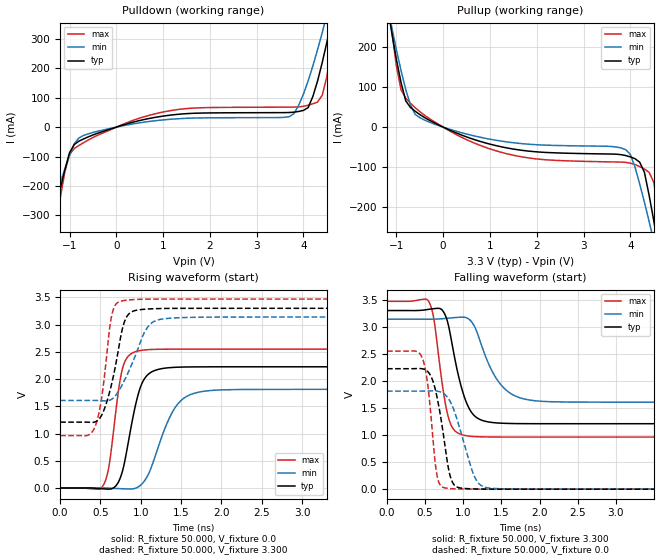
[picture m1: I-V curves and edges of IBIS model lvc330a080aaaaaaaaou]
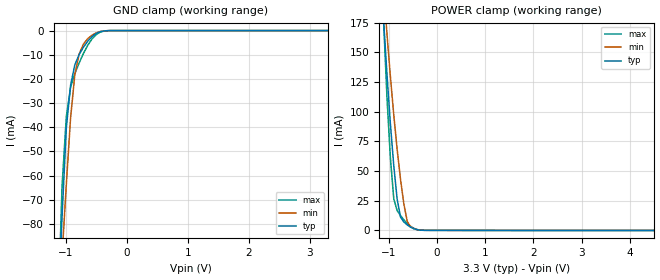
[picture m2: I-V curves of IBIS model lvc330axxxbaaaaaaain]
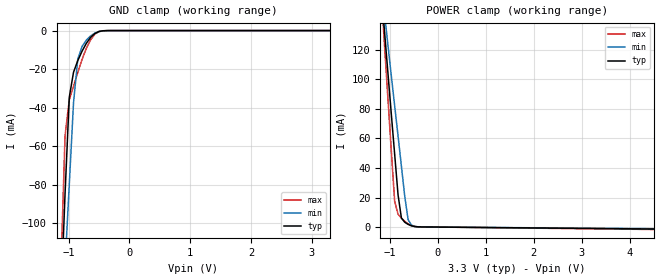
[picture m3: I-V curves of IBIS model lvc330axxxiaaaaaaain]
| IBIS Models Generator: Lattice Radiant Software (64-bit) 3.0.0.24.1
| Report Generate Date: Dec 13 2021
| Report Generate Time: 12:13:41
|IBIS file ice40up.ibs
|Lattice Semiconductor Corporation
[IBIS ver]   4.2
[File Name]   proj_guitar_hero_impl_1.ibs
[File Rev]   2.0
[Date]   1/26/2018
[Source]   Simulation
[Notes]   Final IBIS models
   The data below was generated using simulation of the
   input/output model files for the silicon.  Therefore,
   the data below is for reference and initial design
   purposes only.
|   The model applies to iCE40 ULTRA PLUS.
   Lattice Semiconductor grants permission to use this
   data for use in printed circuit design using this
   Lattice programmable logic device.  Other use of this
   code, including the selling or duplication of any
   portion is strictly prohibited.
|   NAMING CONVENTION
   The IBIS [Model] header is limited by the specification to a
   total of characters.  With such a set of characters available
   for naming models it becomes important to attempt to
   meaningfully encode the IO standards so they fit within the
   twenty character limit.  It would seem that twenty characters
   would provide room enough for describing IO's.  However, the
   PLD IO structure continues to grow more and more complex.  The
   complexity is making the twenty characters insuffiently
   descriptive.  In order to overcome this issue the naming
   convention described below is implemented to resolve the issue.
The twenty character space is managed as follows:
   bbbvvvsdddprtaaaoixx
   b = standard
   v = voltage (x.xx V)
   s = slew code
   d = drive (xx.x ma)
   p = pullmode code
   r = impedance
   t = mipi hard dphy mode
   o = diff resistor code
   i = diff  current code
   x = reserved
   standard
   LVCMOS   lvc
   lvdse   lve
   slew
   na   a
   fast   f
   slow   s
   pullmode
   off   a
   100k   b
   3p3k   i
   6p8k   j
   10k   k
   impedance
   off   a
   mipi hard dphy mode
   off   a
   lp   l
   hs   h
   differential resistor
   off   a
   100   b
   differential current
   NA   a
   3.5   c
   Reserved   IO type
   in   input only (mipi: rx)
   ou   output (mipi: tx)
   io   I/O
   od   Open drain
   on   Inverting differential I/O
   (signal name only)
   op   Non-Inverting differential I/O
   (signal name only)
   Lattice Semiconductor Corporation
   5555 NE Moore Court
   Hillsboro, OR 97214
   U.S.A
   TEL: 1-800-Lattice (USA and Canada)
   408-826-6000 (other locations)
   web: http://www.latticesemi.com/
   email: techsupport@latticesemi.com
[Disclaimer] This IBIS source code is intended as a design reference
   which illustrates how the Lattice Semiconductor device operates.
   It is the user's responsibility to verify their design for
   consistency and functionality through the use of formal
   verification methods.  Lattice Semiconductor provides no warranty
   regarding the use or functionality of this data.
[Copyright]   Copyright 2018 by Lattice Semiconductor Corporation
|   Component ice40_ultra_plus
[Component]   ice40_ultra_plus
[Manufacturer]   UMC
[Package]
| SG48
| variable   Typ   Min   Max
R_pkg   294.15m   225.91m   395.17m
L_pkg   2.652nH   1.989nH   3.504nH
C_pkg   0.2807pF   0.2236pF   0.3481pF
[Pin]  signal_name   model_name   R_pin   L_pin   C_pin
28   RGBout[0]   lvc330a080aaaaaaaaou
27   RGBout[1]   lvc330a080aaaaaaaaou
32   RGBout[2]   lvc330a080aaaaaaaaou
35   RGBout[3]   lvc330a080aaaaaaaaou
31   RGBout[4]   lvc330a080aaaaaaaaou
37   RGBout[5]   lvc330a080aaaaaaaaou
16   rgb[5]   lvc330a080aaaaaaaaou
17   rgb[4]   lvc330a080aaaaaaaaou
15   rgb[3]   lvc330a080aaaaaaaaou
14   rgb[2]   lvc330a080aaaaaaaaou
19   rgb[1]   lvc330a080aaaaaaaaou
18   rgb[0]   lvc330a080aaaaaaaaou
25   HSYNCout   lvc330a080aaaaaaaaou
23   VSYNCout   lvc330a080aaaaaaaaou
4   pressing[5]   lvc330axxxiaaaaaaain
48   pressing[4]   lvc330axxxbaaaaaaain
45   pressing[3]   lvc330axxxbaaaaaaain
47   pressing[2]   lvc330axxxbaaaaaaain
46   pressing[1]   lvc330axxxbaaaaaaain
2   pressing[0]   lvc330axxxiaaaaaaain
20   oscillatorin   lvc330axxxbaaaaaaain
| Models and submodels in the file (3): lvc330a080aaaaaaaaou (Output), lvc330axxxbaaaaaaain (Input), lvc330axxxiaaaaaaain (Input)
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[Model] lvc330a080aaaaaaaaou
Model_type Output
Polarity   Non-Inverting
Vmeas =  1.650V
Cref =  0.0F
Rref =  1.000M
Vref =  0.0V
C_comp   5.000pF   4.000pF   5.500pF
[Temperature Range]   25.000   0.125k   -40.000
[Voltage Range]   3.300V   3.140V   3.470V
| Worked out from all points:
|   slope of the pulldown table from 0 to 0.495 V, typ, clamps not added: 22.2 ohm
|   slope of the pullup table from 0 to 0.495 V, typ, clamps not added: 20.5 ohm
|   rising waveform, R_fixture 50.000, V_fixture 0.0: 20-80 % time 185ps typ, 288ps min, 134ps max; typ from 0 V to 2.23 V
|   rising waveform, R_fixture 50.000, V_fixture 3.300: 20-80 % time 178ps typ, 261ps min, 124ps max; typ from 1.21 V to 3.3 V
|   falling waveform, R_fixture 50.000, V_fixture 3.300: 20-80 % time 207ps typ, 307ps min, 149ps max; typ from 3.3 V to 1.21 V
|   falling waveform, R_fixture 50.000, V_fixture 0.0: 20-80 % time 154ps typ, 231ps min, 107ps max; typ from 2.23 V to 0 V
[Pulldown]
|Voltage   I(typ)   I(min)   I(max)
-3.3V     -1.776A    -1.307A    -2.431A
-1.5V     -423.6mA   -342.8mA   -538.4mA
-1.4V     -351.5mA   -291.1mA   -437.4mA
-1.3V     -280.6mA   -240.3mA   -338.1mA
-1V       -86.97mA   -97.65mA   -93.09mA
-600mV    -33.08mA   -22.8mA    -43.84mA
1.2V      41.65mA    27.29mA    57.19mA
3.7V      49.78mA    35.79mA    67.98mA
4.1V      66.56mA    157.4mA    74.46mA
4.5V      288.6mA    381.2mA    171.9mA
4.7V      439.3mA    507.4mA    377.8mA
6.6V      2.168A     1.924A     3.534A
[Pullup]
|Voltage   I(typ)   I(min)   I(max)
-3.3V     2.151A     1.834A     3.789A
-1.1V     235.9mA    249.4mA    241.7mA
-900mV    110.8mA    140.5mA    92.9mA
-700mV    49.1mA     55.83mA    59.51mA
-500mV    31.42mA    23.54mA    38.71mA
1.3V      -50.32mA   -35.76mA   -64.44mA
3.8V      -68.46mA   -51.76mA   -86.99mA
4V        -74.06mA   -67.96mA   -89.6mA
4.2V      -87.28mA   -141.6mA   -98.17mA
4.5V      -232.6mA   -283.4mA   -137mA
4.7V      -369.1mA   -384.5mA   -298.2mA
6.6V      -1.78A     -1.393A    -2.261A
[Ramp]
| variable   typ   min   max
dV/dt_r   1.335/0.193n   1.087/0.297n   1.530/0.140n
dV/dt_f   1.255/0.212n   0.920/0.311n   1.505/0.156n
R_load = 50.000
[Rising Waveform]
R_fixture= 50.000
V_fixture= 0.0
V_fixture_min= 0.0
V_fixture_max= 0.0
|time   V(typ)   V(min)   V(max)
0s        0V         0V         0V
536ps     -16.16mV   759.6uV    52.64mV
606ps     -21.46mV   -2.929mV   401.5mV
725ps     115.9mV    -11.53mV   1.805V
775ps     321mV      -14.23mV   2.204V
999ps     1.864V     52.71mV    2.526V
1.129ns   2.127V     373.8mV    2.543V
1.414ns   2.215V     1.45V      2.55V
1.764ns   2.225V     1.772V     2.55V
10ns      2.225V     1.812V     2.55V
[Rising Waveform]
R_fixture= 50.000
V_fixture= 3.300
V_fixture_min= 3.140
V_fixture_max= 3.470
|time   V(typ)   V(min)   V(max)
0s        1.209V     1.607V     962.5mV
332ps     1.209V     1.607V     963mV
426ps     1.21V      1.607V     1.102V
516ps     1.34V      1.604V     1.673V
641ps     1.928V     1.633V     3.18V
789ps     3.016V     1.951V     3.442V
874ps     3.224V     2.222V     3.456V
1.074ns   3.286V     2.93V      3.468V
1.334ns   3.298V     3.115V     3.47V
10ns      3.3V       3.14V      3.47V
[Falling Waveform]
R_fixture= 50.000
V_fixture= 3.300
V_fixture_min= 3.140
V_fixture_max= 3.470
|time   V(typ)   V(min)   V(max)
0s        3.3V       3.14V      3.47V
548ps     3.323V     3.139V     3.464V
612ps     3.334V     3.141V     3.159V
730ps     3.297V     3.15V      1.883V
801ps     3.05V      3.159V     1.342V
1.038ns   1.61V      3.168V     988mV
1.184ns   1.314V     2.882V     969.4mV
1.489ns   1.22V      1.935V     963mV
1.938ns   1.21V      1.634V     962.5mV
10ns      1.209V     1.607V     962.5mV
[Falling Waveform]
R_fixture= 50.000
V_fixture= 0.0
V_fixture_min= 0.0
V_fixture_max= 0.0
|time   V(typ)   V(min)   V(max)
0s        2.225V     1.812V     2.55V
464ps     2.224V     1.812V     2.415V
532ps     2.176V     1.814V     1.949V
651ps     1.728V     1.813V     287.9mV
772ps     678.2mV    1.729V     19.5mV
833ps     216.8mV    1.605V     10.3mV
894ps     59.61mV    1.393V     5.856mV
1.146ns   4.774mV    233.2mV    594.5uV
1.315ns   1.376mV    26.01mV    127.7uV
10ns      0V         0V         0V
[Model] lvc330axxxbaaaaaaain
Model_type Input
Polarity   Non-Inverting
Vinl =  0.800V
Vinh =  2.000V
C_comp   3.30pF   3.17pF   3.43pF
[Temperature Range]   25.000   0.125k   -40.000
[Voltage Range]   3.300V   3.140V   3.470V
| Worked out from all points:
|   GND clamp passes 1 mA (typ) near -0.48 V on its own axis
|   POWER clamp passes 1 mA (typ) near -0.45 V on its own axis
[GND_clamp]
|Voltage   I(typ)   I(min)   I(max)
-3.3V     -1.71A     -1.258A    -2.349A
-1.13V    -119.4mA   -124.7mA   -120.3mA
-1.06V    -76.88mA   -93.37mA   -64.39mA
-990mV    -40.35mA   -63.65mA   -35.62mA
-920mV    -22.6mA    -36.07mA   -23.38mA
-850mV    -14.14mA   -18.14mA   -17.79mA
-780mV    -9.909mA   -9.739mA   -13.41mA
-710mV    -6.894mA   -5.603mA   -9.501mA
-640mV    -4.428mA   -3.381mA   -6.138mA
-500mV    -1.198mA   -946.9uA   -1.648mA
-290mV    -17.2uA    -20.27uA   -19.28uA
3.3V      0A         0A         0A
[POWER_clamp]
|Voltage   I(typ)   I(min)   I(max)
-3.3V     2.101A     1.758A     3.757A
-1.11V    175.9mA    202.3mA    175mA
-1.04V    130.6mA    164.8mA    110.8mA
-970mV    89.47mA    129.5mA    60.8mA
-900mV    54.32mA    97.15mA    26.56mA
-830mV    26.33mA    68.22mA    16.68mA
-760mV    11.13mA    42.96mA    12.46mA
-690mV    7.047mA    22mA       8.842mA
-620mV    4.569mA    7.445mA    5.774mA
-480mV    1.311mA    1.375mA    1.631mA
-200mV    15.9uA     19.21uA    18.62uA
6.6V      -81.43uA   -54.99uA   -111.7uA
[Model] lvc330axxxiaaaaaaain
Model_type Input
Polarity   Non-Inverting
Vinl =  0.800V
Vinh =  2.000V
C_comp   5.000pF   4.000pF   5.500pF
[Temperature Range]   25.000   0.125k   -40.000
[Voltage Range]   3.300V   3.140V   3.470V
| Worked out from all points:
|   GND clamp passes 1 mA (typ) near -0.54 V on its own axis
|   POWER clamp passes 1 mA (typ) near -0.56 V on its own axis
[GND_clamp]
|Voltage   I(typ)   I(min)   I(max)
-3.3V     -1.952A    -1.519A    -2.427A
-1.13V    -142mA     -164.6mA   -125.6mA
-1.06V    -84.84mA   -122.1mA   -54.71mA
-990mV    -34.57mA   -79.78mA   -35.86mA
-920mV    -21.56mA   -37.29mA   -28.84mA
-850mV    -15.58mA   -14.77mA   -21.67mA
-780mV    -10.69mA   -8.258mA   -14.98mA
-640mV    -3.549mA   -2.798mA   -4.8mA
-570mV    -1.511mA   -1.328mA   -1.856mA
-500mV    -467.6uA   -484.9uA   -473.3uA
-360mV    -12.93uA   -23.94uA   -8.743uA
3.3V      0A         0A         0A
[POWER_clamp]
|Voltage   I(typ)   I(min)   I(max)
-3.3V     1.153A     923.9mA    1.395A
-1.18V    159.7mA    164.8mA    158.1mA
-1.11V    131.7mA    143.8mA    122.2mA
-1.04V    104mA      123mA      86.66mA
-900mV    49.13mA    82mA       17.35mA
-830mV    21.96mA    61.81mA    8.795mA
-760mV    6.145mA    41.32mA    6.089mA
-690mV    3.258mA    20.86mA    3.879mA
-620mV    1.818mA    4.989mA    2.139mA
-550mV    856.3uA    1.358mA    942.2uA
-270mV    80.02uA    68.71uA    98.5uA
6.6V      -1.936mA   -1.612mA   -2.389mA
